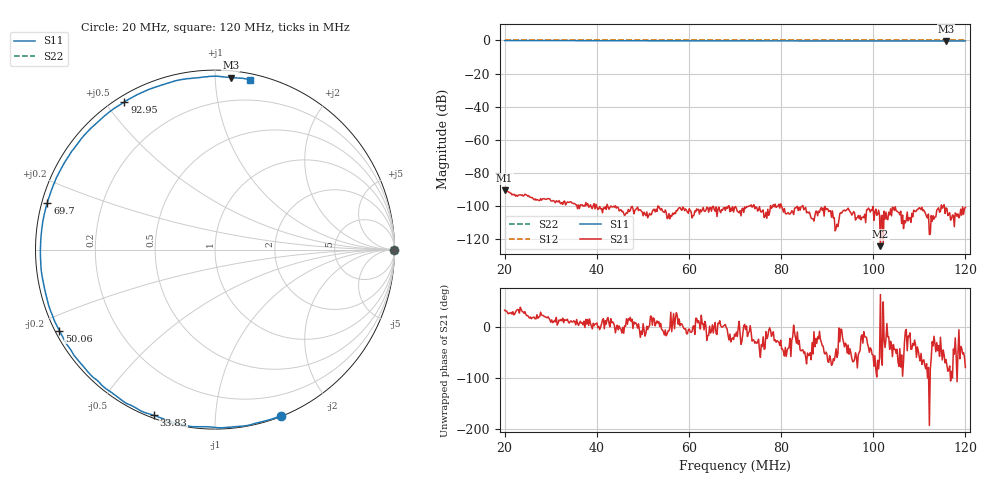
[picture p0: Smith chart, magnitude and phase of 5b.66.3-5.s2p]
! Anritsu VNA Master:  Model: MS2036C/10/77
! SN:  1601066
! /card0/usr/18may27.balun/5b.66.3.s2p
! Existing Calibration Information:
! TYPE:  Current Settings,  Active Cal Settings
! TIME:  05/27/2018 04:01:33 PM,  05/27/2018 03:52:12 PM
! INTERNAL TEMP:  51.8 C,  52.5 C
! # POINTS:  500,  500
! START FREQ:  20.000 MHz,  20.000 MHz
! STOP FREQ:  120.000 MHz,  120.000 MHz
! SOURCE POWER:  High,  High
! IFBW:  50 Hz,  50 Hz
! AVG FACTOR:  1 ,  1
! REF PLANE 1:  0 mm,  0 mm
! REF PLANE 2:  0 mm,  0 mm
! CAL TYPE:  Full S11,  Full S11
! CAL METHOD:  SOLT,  SOLT
! CAL LINE TYPE:  Coax,  Coax
! DUT PORT 1:  K-Conn(M),  K-Conn(M)
! DUT PORT 2:  K-Conn(M),  K-Conn(M)
! CAL STATUS:  OK: Accuracy High,  --
# GHZ S DB R 50.0
! FREQ.GHZ  S11DB  S11A  S21DB  S21A  S12DB  S12A  S22DB  S22A
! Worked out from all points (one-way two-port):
!   500 points, 20 MHz to 120 MHz, reference 50 ohm
!   highest |S21| = -90.31 dB at 20 MHz (marker M1); lowest = -124.0 dB at 101.6 MHz (marker M2)
!   lowest |S11| = -0.3 dB at 115.8 MHz (marker M3), VSWR 51.82, Z = 2.12 + j54.8 ohm
!   |S11| at or under -10 dB: nowhere
!   |S22| runs from 0.0 to 0.0 dB; largest |S21 - S12| = 1
!   S11 on the Smith chart (normalised r, x): 20 MHz: 0.01, -1.48; 33.83 MHz: 0.01, -0.70; 50.06 MHz: 0.01, -0.24; 69.7 MHz: 0.02, +0.14; 92.95 MHz: 0.02, +0.56; 120 MHz: 0.04, +1.22
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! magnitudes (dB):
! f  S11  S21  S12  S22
! 20 MHz  0.0  -90.3  0.0  0.0
! 22.4 MHz  -0.1  -93.9  0.0  0.0
! 23.81 MHz  0.0  -93.1  0.0  0.0
! 27.82 MHz  -0.1  -95.4  0.0  0.0
! 29.62 MHz  0.0  -95.5  0.0  0.0
! 33.83 MHz  -0.1  -97.6  0.0  0.0
! 35.03 MHz  -0.1  -98.3  0.0  0.0
! 36.83 MHz  -0.1  -99.1  0.0  0.0
! 37.64 MHz  -0.1  -97.7  0.0  0.0
! 39.24 MHz  -0.2  -99.5  0.0  0.0
! 50.06 MHz  -0.2  -105.7  0.0  0.0
! 53.47 MHz  -0.2  -100.1  0.0  0.0
! 69.7 MHz  -0.3  -103.5  0.0  0.0
! 70.1 MHz  -0.3  -100.1  0.0  0.0
! 86.73 MHz  -0.3  -107.4  0.0  0.0
! 92.95 MHz  -0.3  -103.8  0.0  0.0
! 101.6 MHz  -0.3  -124.0  0.0  0.0
! 103.4 MHz  -0.3  -103.6  0.0  0.0
! 108.4 MHz  -0.3  -104.3  0.0  0.0
! 113 MHz  -0.3  -105.7  0.0  0.0
! 115.8 MHz  -0.3  -101.0  0.0  0.0
! 120 MHz  -0.3  -100.7  0.0  0.0
